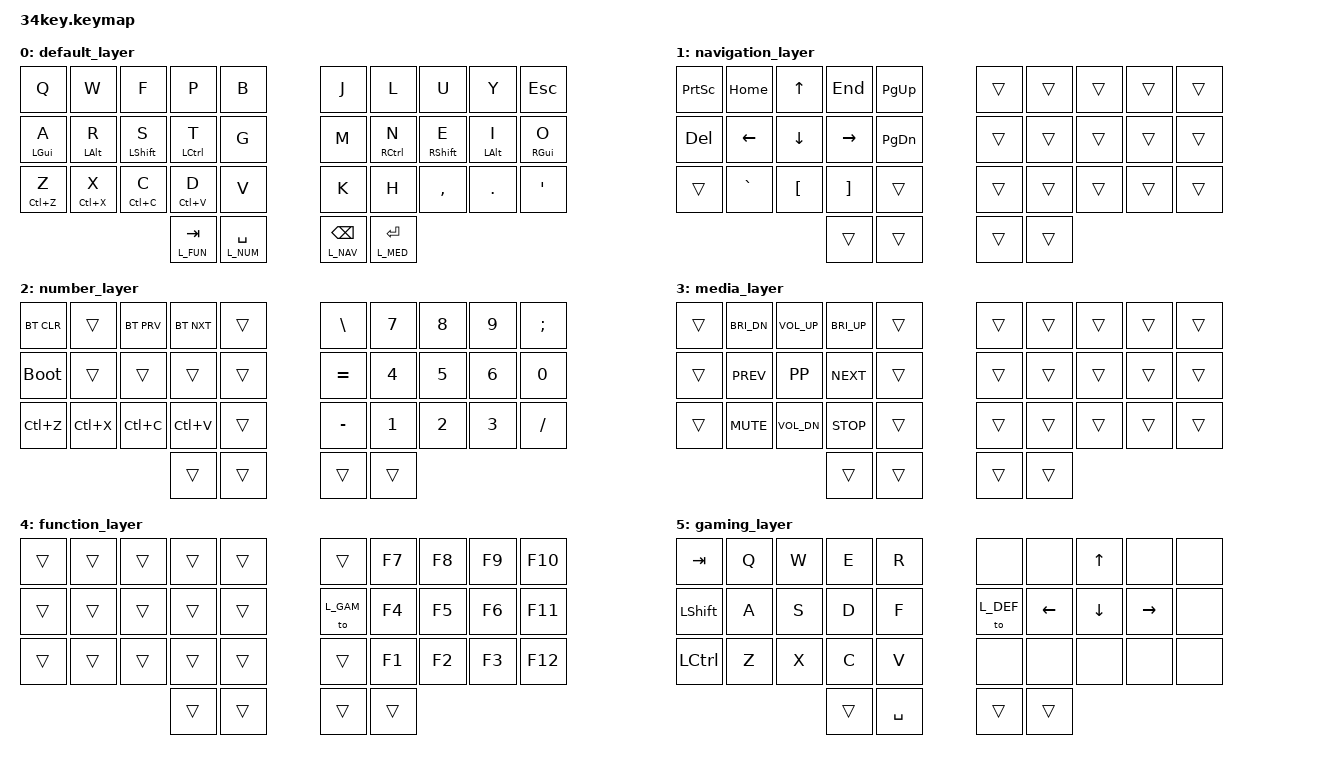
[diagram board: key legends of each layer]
/*
 * Copyright (c) 2020 The ZMK Contributors
 *
 * SPDX-License-Identifier: MIT
 */

#include <behaviors.dtsi>
#include <dt-bindings/zmk/bt.h>
#include <dt-bindings/zmk/keys.h>

// GENERAL KEYS
#define GEN_NONE &none
#define GEN_TRAN &trans

// DEFAULT LAYER

#define L_DEF 0

#define DEF_Q &kp Q
#define DEF_W &kp W
#define DEF_F &kp F
#define DEF_P &kp P
#define DEF_B &kp B
                        
#define DEF_A &lht LGUI A 
#define DEF_R &lht LALT R 
#define DEF_S &lht LSHIFT S
#define DEF_T &lht LCTRL T 
#define DEF_G &kp G
        
#define DEF_Z &mt LC(Z) Z
#define DEF_X &mt LC(X) X
#define DEF_C &mt LC(C) C
#define DEF_D &mt LC(V) D
#define DEF_V &kp V
                        

#define DEF_J &kp J
#define DEF_L &kp L
#define DEF_U &kp U
#define DEF_Y &kp Y
#define DEF_ESC &kp ESC

#define DEF_K &kp K
#define DEF_H &kp H
#define DEF_COMA &kp COMMA
#define DEF_DOT &kp DOT
#define DEF_QUOT &kp SQT

#define DEF_M &kp M
#define DEF_N &rht RCTL N 
#define DEF_E &rht RSHIFT E
#define DEF_I &rht LALT I 
#define DEF_O &rht RGUI O


#define DEF_TAB &lt L_FUN TAB
#define DEF_SPC &lt L_NUM SPC

#define DEF_BSPC &lt L_NAV BSPC
#define DEF_RET &lt L_MED RET

// NAVIGATION LAYER
#define L_NAV 1

#define NAV_PRNT &kp PSCRN
#define NAV_HOME &kp HOME
#define NAV_UP &kp UP
#define NAV_END &kp END
#define NAV_PGUP &kp PG_UP

#define NAV_DEL &kp DEL
#define NAV_LEFT &kp LEFT
#define NAV_DOWN &kp DOWN
#define NAV_RGHT &kp RIGHT
#define NAV_PGDN &kp PG_DN

#define NAV_GRV &kp GRAVE
#define NAV_LBKT &kp LBKT
#define NAV_RBKT &kp RBKT 


// NUMBER LAYER
#define L_NUM 2

#define NUM_BCLR &bt BT_CLR
#define NUM_BNXT &bt BT_NXT
#define NUM_BPRV &bt BT_PRV

#define NUM_BSLH &kp BSLH
#define NUM_N7 &kp N7 
#define NUM_N8 &kp N8
#define NUM_N9 &kp N9
#define NUM_SEMI &kp SEMI

#define NUM_BOOT &bootloader

#define NUM_EQUL &kp EQUAL
#define NUM_N4 &kp N4
#define NUM_N5 &kp N5
#define NUM_N6 &kp N6
#define NUM_N0 &kp N0

#define NUM_UNDO &kp LC(Z)
#define NUM_CUT &kp LC(X)
#define NUM_CPY &kp LC(C)
#define NUM_PST &kp LC(V)

#define NUM_MIN &kp MINUS
#define NUM_N1 &kp N1
#define NUM_N2 &kp N2
#define NUM_N3 &kp N3
#define NUM_FSLH &kp FSLH

// MEDIA LAYER
#define L_MED 3

#define MED_BRID &kp C_BRI_DN
#define MED_VOLU &kp C_VOL_UP
#define MED_BRIU &kp C_BRI_UP

#define MED_PREV &kp C_PREV
#define MED_PLAY &kp K_PP
#define MED_NEXT &kp C_NEXT

#define MED_MUTE &kp C_MUTE
#define MED_VOLD &kp C_VOL_DN
#define MED_STOP &kp C_STOP

// FUNCTION LAYER
#define L_FUN 4

#define FUN_F7 &kp F7
#define FUN_F8 &kp F8
#define FUN_F9 &kp F9
#define FUN_F10 &kp F10

#define FUN_GAME &to L_GAM
#define FUN_F4 &kp F4
#define FUN_F5 &kp F5
#define FUN_F6 &kp F6
#define FUN_F11 &kp F11

#define FUN_F1 &kp F1
#define FUN_F2 &kp F2
#define FUN_F3 &kp F3
#define FUN_F13 &kp F12

// GAMING LAYER
#define L_GAM 5

#define GAM_TAB &kp TAB
#define GAM_Q &kp Q
#define GAM_W &kp W
#define GAM_E &kp E
#define GAM_R &kp R

#define GAM_LSFT &kp LSHIFT
#define GAM_A &kp A
#define GAM_S &kp S
#define GAM_D &kp D
#define GAM_F &kp F

#define GAM_LCTL &kp LCTRL
#define GAM_Z &kp Z
#define GAM_X &kp X
#define GAM_C &kp C
#define GAM_V &kp V


#define GAM_UP &kp UP

#define GAM_DEF &to L_DEF
#define GAM_LEFT &kp LEFT
#define GAM_DOWN &kp DOWN
#define GAM_RGHT &kp RIGHT

#define GAM_ESC &kp ESC
#define GAM_SPC &kp SPACE


&mt {
  flavor = "tap-preferred";
  tapping_term_ms = <180>;
};

&lt {
  flavor = "tap-preferred";
  tapping_term_ms = <180>;
};

/ {
  combos {
      compatible = "zmk,combos";
      combo_lbkt {
          timeout-ms = <50>;
          key-positions = <6 16>;
          bindings = <&kp LBKT>;
      };
      combo_rbkt {
          timeout-ms = <50>;
          key-positions = <7 17>;
          bindings = <&kp RBKT>;
      };
      combo_lbrc {
          timeout-ms = <50>;
          key-positions = <16 26>;
          bindings = <&kp LBRC>;
      };
      combo_rbrc {
          timeout-ms = <50>;
          key-positions = <17 27>;
          bindings = <&kp RBRC>;
      };
      combo_grave {
          timeout-ms = <50>;
          key-positions = <5 15>;
          bindings = <&kp GRAVE>;
      };
      combo_tilde {
          timeout-ms = <50>;
          key-positions = <15 25>;
          bindings = <&kp TILDE>;
      };
      combo_esc {
          timeout-ms = <50>;
          key-positions = <2 12>;
          bindings = <&kp ESC>;
      };
      combo_ret {
          timeout-ms = <50>;
          key-positions = <3 13>;
          bindings = <&kp RET>;
      };
      combo_copy {
          timeout-ms = <50>;
          key-positions = <12 22>;
          bindings = <&kp LC(C)>;
      };
      combo_paste {
          timeout-ms = <50>;
          key-positions = <13 23>;
          bindings = <&kp LC(V)>;
      };
  };

  behaviors {
    lht: left_hand_positional_hold_tap {
        compatible = "zmk,behavior-hold-tap";
        label = "LEFT_POSITIONAL_HOLD_TAP";
        #binding-cells = <2>;
        tapping-term-ms = <200>;    // <---[[moderate duration]]
        quick-tap-ms = <0>;
        flavor = "balanced";
        bindings = <&kp>, <&kp>;
        hold-trigger-key-positions = <5 6 7 8 9 15 16 17 18 19 25 26 27 28 29 30 31 32 33>;
    };
    rht: right_hand_positional_hold_tap {
        compatible = "zmk,behavior-hold-tap";
        label = "RIGHT_POSITIONAL_HOLD_TAP";
        #binding-cells = <2>;
        tapping-term-ms = <200>;    // <---[[moderate duration]]
        quick-tap-ms = <0>;
        flavor = "balanced";
        bindings = <&kp>, <&kp>;
        hold-trigger-key-positions = <0 1 2 3 4 10 11 12 13 14 20 21 22 23 24 30 31 32 33>;
    };
  };

  keymap {
    compatible = "zmk,keymap";

    default_layer {
      bindings = <
        DEF_Q    DEF_W    DEF_F    DEF_P    DEF_B          DEF_J    DEF_L    DEF_U    DEF_Y    DEF_ESC
        DEF_A    DEF_R    DEF_S    DEF_T    DEF_G          DEF_M    DEF_N    DEF_E    DEF_I    DEF_O
        DEF_Z    DEF_X    DEF_C    DEF_D    DEF_V          DEF_K    DEF_H    DEF_COMA DEF_DOT  DEF_QUOT
                                   DEF_TAB  DEF_SPC        DEF_BSPC DEF_RET
      >;
    };

    navigation_layer {
      bindings = <
        NAV_PRNT NAV_HOME NAV_UP   NAV_END  NAV_PGUP       GEN_TRAN GEN_TRAN GEN_TRAN GEN_TRAN GEN_TRAN
        NAV_DEL  NAV_LEFT NAV_DOWN NAV_RGHT NAV_PGDN       GEN_TRAN GEN_TRAN GEN_TRAN GEN_TRAN GEN_TRAN
        GEN_TRAN NAV_GRV  NAV_LBKT NAV_RBKT GEN_TRAN       GEN_TRAN GEN_TRAN GEN_TRAN GEN_TRAN GEN_TRAN
                                   GEN_TRAN GEN_TRAN       GEN_TRAN GEN_TRAN
      >;
    };

    number_layer {
      bindings = <
        NUM_BCLR GEN_TRAN NUM_BPRV NUM_BNXT GEN_TRAN       NUM_BSLH NUM_N7    NUM_N8    NUM_N9    NUM_SEMI
        NUM_BOOT GEN_TRAN GEN_TRAN GEN_TRAN GEN_TRAN       NUM_EQUL NUM_N4    NUM_N5    NUM_N6    NUM_N0
        NUM_UNDO NUM_CUT  NUM_CPY  NUM_PST  GEN_TRAN       NUM_MIN  NUM_N1    NUM_N2    NUM_N3    NUM_FSLH
                                   GEN_TRAN GEN_TRAN       GEN_TRAN GEN_TRAN
      >;
    };

    media_layer {
      bindings = <
        GEN_TRAN MED_BRID MED_VOLU MED_BRIU GEN_TRAN       GEN_TRAN GEN_TRAN GEN_TRAN GEN_TRAN GEN_TRAN
        GEN_TRAN MED_PREV MED_PLAY MED_NEXT GEN_TRAN       GEN_TRAN GEN_TRAN GEN_TRAN GEN_TRAN GEN_TRAN
        GEN_TRAN MED_MUTE MED_VOLD MED_STOP GEN_TRAN       GEN_TRAN GEN_TRAN GEN_TRAN GEN_TRAN GEN_TRAN
                                   GEN_TRAN GEN_TRAN       GEN_TRAN GEN_TRAN
      >;
    };

    function_layer {
      bindings = <
        GEN_TRAN GEN_TRAN GEN_TRAN GEN_TRAN GEN_TRAN       GEN_TRAN FUN_F7   FUN_F8   FUN_F9   FUN_F10
        GEN_TRAN GEN_TRAN GEN_TRAN GEN_TRAN GEN_TRAN       FUN_GAME FUN_F4   FUN_F5   FUN_F6   FUN_F11
        GEN_TRAN GEN_TRAN GEN_TRAN GEN_TRAN GEN_TRAN       GEN_TRAN FUN_F1   FUN_F2   FUN_F3   FUN_F13
                                   GEN_TRAN GEN_TRAN       GEN_TRAN GEN_TRAN
      >;
    };

    gaming_layer {
      bindings = <
        GAM_TAB  GAM_Q    GAM_W    GAM_E    GAM_R       GEN_NONE GEN_NONE GAM_UP   GEN_NONE GEN_NONE
        GAM_LSFT GAM_A    GAM_S    GAM_D    GAM_F       GAM_DEF  GAM_LEFT GAM_DOWN GAM_RGHT GEN_NONE
        GAM_LCTL GAM_Z    GAM_X    GAM_C    GAM_V       GEN_NONE GEN_NONE GEN_NONE GEN_NONE GEN_NONE
                                   GEN_TRAN GAM_SPC     GEN_TRAN GEN_TRAN
      >;
    };

    // empty_layer {
    //   bindings = <
    //     GEN_TRAN GEN_TRAN GEN_TRAN GEN_TRAN GEN_TRAN       GEN_TRAN GEN_TRAN GEN_TRAN GEN_TRAN GEN_TRAN
    //     GEN_TRAN GEN_TRAN GEN_TRAN GEN_TRAN GEN_TRAN       GEN_TRAN GEN_TRAN GEN_TRAN GEN_TRAN GEN_TRAN
    //     GEN_TRAN GEN_TRAN GEN_TRAN GEN_TRAN GEN_TRAN       GEN_TRAN GEN_TRAN GEN_TRAN GEN_TRAN GEN_TRAN
    //                                GEN_TRAN GEN_TRAN       GEN_TRAN GEN_TRAN
    //   >;
    // };

  };
};
